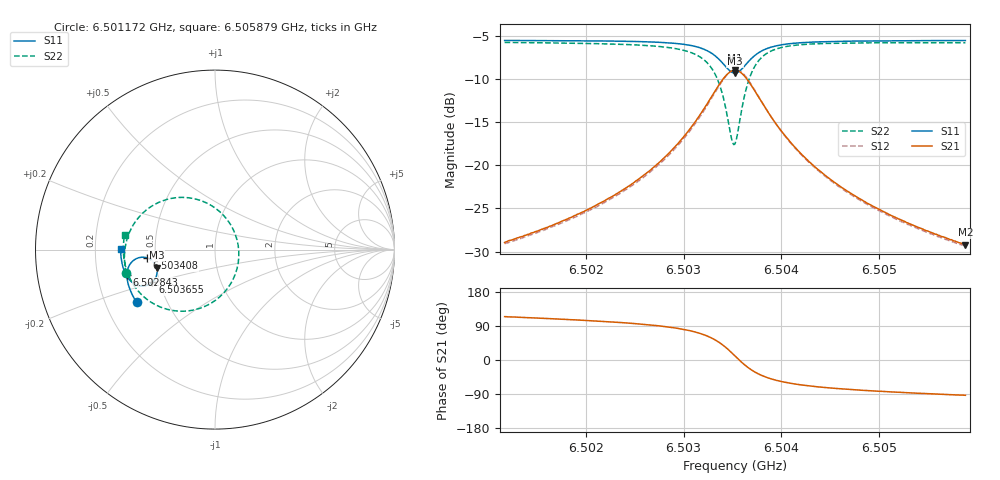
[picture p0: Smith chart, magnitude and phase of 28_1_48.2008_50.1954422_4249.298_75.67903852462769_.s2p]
#  HZ  S  RI  R  50.00
! Rohde & Schwarz Vector Network Analyzer
! Rohde-Schwarz,ZNB20-2Port,1311601062101988,3.16
! Created: UTC 3/20/2024, 11:37:14 AM
! freq[Hz]  re:S11  im:S11  re:S21  im:S21  re:S12  im:S12  re:S22  im:S22
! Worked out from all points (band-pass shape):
!   401 points, 6.501172 GHz to 6.505879 GHz, reference 50 ohm
!   highest |S21| = -9.02 dB at 6.503526 GHz (marker M1); lowest = -29.2 dB at 6.505879 GHz (marker M2)
!   |S21| within 3 dB of the highest: 6.50329 GHz to 6.503761 GHz (471.2 kHz wide, 0.00725 % of centre)
!   lowest |S11| = -9.4 dB at 6.503526 GHz (marker M3), VSWR 2.03, Z = 25 - j5.64 ohm
!   |S11| at or under -10 dB: nowhere
!   |S22| runs from -17.6 to -5.8 dB; largest |S21 - S12| = 0.012
!   S11 on the Smith chart (normalised r, x): 6.501172 GHz: 0.34, -0.27; 6.502843 GHz: 0.33, -0.12; 6.503408 GHz: 0.45, -0.05; 6.503655 GHz: 0.46, -0.20; 6.505879 GHz: 0.31, +0.00
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6.5011719e9  -0.4362 -0.2947  -0.0147 0.0325  -0.013 0.0327  -0.4954 -0.1328
6.5019604e9  -0.4687 -0.2344  -0.0138 0.0514  -0.0113 0.051  -0.5046 -0.0449
6.5024311e9  -0.4841 -0.1906  -0.00981 0.0745  -0.00661 0.073  -0.4977 0.0274
6.5027489e9  -0.4905 -0.153  -0.000267 0.1034  0.00349 0.1008  -0.476 0.0974
6.502843e9  -0.4907 -0.1395  0.00564 0.1159  0.00953 0.1128  -0.4631 0.1243
6.5030431e9  -0.4849 -0.1049  0.0309 0.1529  0.0346 0.148  -0.4105 0.1953
6.5031843e9  -0.4682 -0.0742  0.0729 0.1881  0.0756 0.1818  -0.3293 0.2555
6.5033138e9  -0.4304 -0.0472  0.1538 0.2142  0.1543 0.2077  -0.1822 0.2909
6.5034079e9  -0.3815 -0.0452  0.2491 0.1958  0.2491 0.1911  -0.017 0.2436
6.5034903e9  -0.3369 -0.0764  0.3301 0.117  0.3328 0.1127  0.1122 0.0875
6.5035256e9  -0.3258 -0.0997  0.348 0.0658  0.3519 0.0602  0.1326 -0.00893
6.5035491e9  -0.3228 -0.1168  0.3512 0.0295  0.3556 0.0226  0.1291 -0.0755
6.5035844e9  -0.3252 -0.1423  0.3428 -0.0227  0.3467 -0.0321  0.0994 -0.1684
6.503655e9  -0.3487 -0.1811  0.2934 -0.1018  0.2933 -0.114  -0.0176 -0.296
6.5037492e9  -0.3912 -0.2016  0.2113 -0.1461  0.2061 -0.157  -0.1848 -0.3435
6.5038198e9  -0.4184 -0.2016  0.1617 -0.1511  0.1547 -0.1593  -0.2773 -0.3295
6.5039022e9  -0.4421 -0.1943  0.1196 -0.1446  0.1119 -0.1503  -0.3513 -0.2962
6.5040669e9  -0.4722 -0.1732  0.0697 -0.1225  0.063 -0.1251  -0.4319 -0.2262
6.5043141e9  -0.495 -0.1419  0.0359 -0.0944  0.0307 -0.095  -0.4809 -0.146
6.5046554e9  -0.5106 -0.1048  0.0162 -0.0701  0.0126 -0.0695  -0.5037 -0.0712
6.5051026e9  -0.5206 -0.0621  0.00544 -0.0514  0.00301 -0.0508  -0.5107 -0.0032
6.5058793e9  -0.5261 0.00471  -0.00189 -0.0346  -0.0033 -0.0338  -0.5039 0.083
